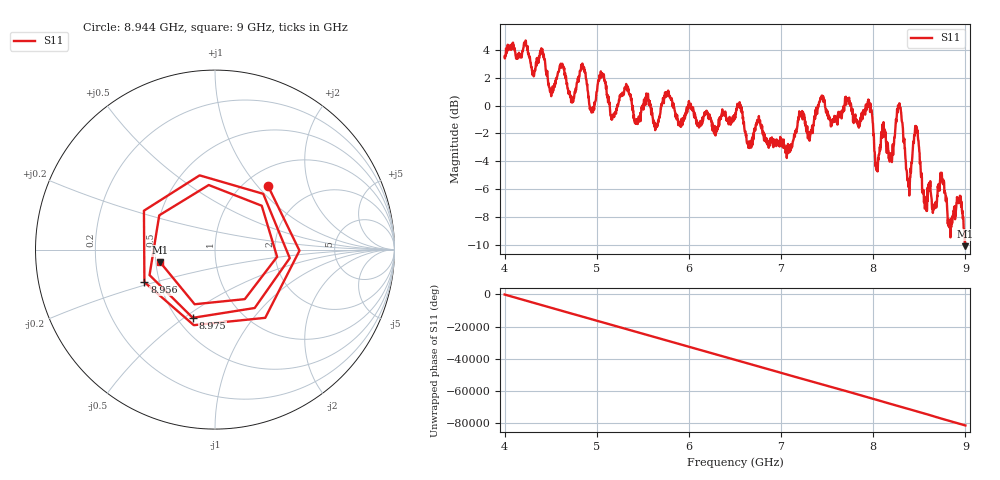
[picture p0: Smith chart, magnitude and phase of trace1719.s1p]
! Created with skrf 1.8.0 (http://scikit-rf.org).
# Hz S RI R 50.0
!freq ReS11 ImS11
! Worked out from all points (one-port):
!   1601 points, 4 GHz to 9 GHz, reference 50 ohm
!   lowest |S11| = -10.1 dB at 9 GHz (marker M1), VSWR 1.91, Z = 26.4 - j4.16 ohm
!   |S11| at or under -10 dB: 8.99923 GHz to end of sweep
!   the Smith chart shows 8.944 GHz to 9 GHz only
!   S11 on the Smith chart (normalised r, x): 8.944 GHz: 1.26, +1.14; 8.956 GHz: 0.41, -0.18; 8.975 GHz: 0.60, -0.54; 9 GHz: 0.53, -0.08
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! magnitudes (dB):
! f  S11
! 4 GHz  3.5
! 4.409 GHz  4.1
! 4.506 GHz  0.7
! 4.625 GHz  3.0
! 4.734 GHz  0.2
! 4.853 GHz  2.7
! 4.947 GHz  -0.4
! 5.053 GHz  2.0
! 5.169 GHz  -0.9
! 5.25 GHz  0.7
! 5.875 GHz  -1.0
! 6.5 GHz  -0.7
! 6.653 GHz  -2.6
! 7.125 GHz  -2.6
! 7.438 GHz  0.6
! 7.75 GHz  0.0
! 7.962 GHz  0.0
! 8.041 GHz  -4.2
! 8.109 GHz  -1.5
! 8.194 GHz  -3.7
! 8.284 GHz  0.2
! 8.375 GHz  -5.3
! 8.469 GHz  -1.6
! 8.559 GHz  -7.4
! 8.944 GHz  -6.7
! 8.956 GHz  -7.3
! 8.975 GHz  -8.0
! 9 GHz  -10.1
